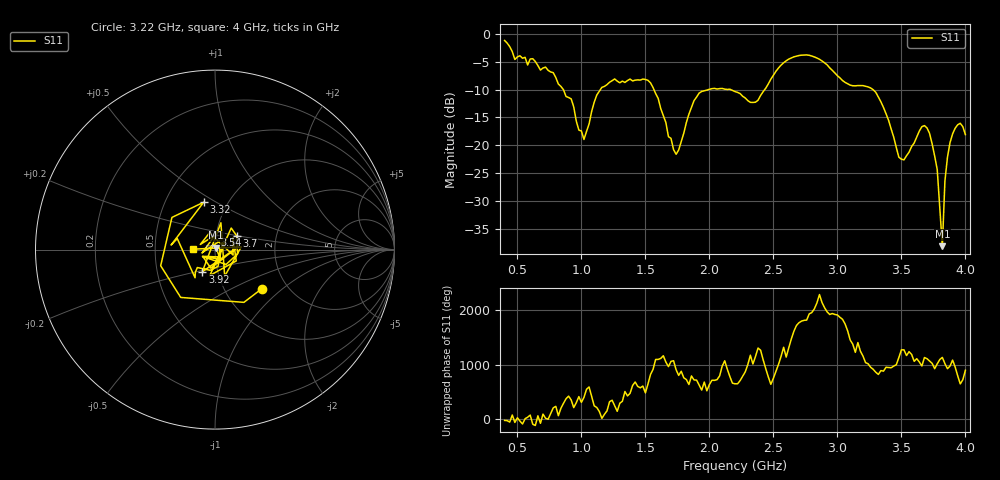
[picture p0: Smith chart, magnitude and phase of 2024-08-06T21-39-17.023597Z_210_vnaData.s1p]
!Created with skrf (http://scikit-rf.org).
# Hz S RI R 50.0
!freq ReS11 ImS11
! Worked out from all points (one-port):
!   181 points, 400 MHz to 4 GHz, reference 50 ohm
!   lowest |S11| = -38.2 dB at 3.82 GHz (marker M1), VSWR 1.03, Z = 50.7 + j1.03 ohm
!   |S11| at or under -10 dB: 859.9 MHz to 1.147 GHz (287.6 MHz wide, 28.7 % of centre); 1.567 GHz to 1.99 GHz (423 MHz wide, 23.8 % of centre); 3.279 GHz to end of sweep (the widest 3 of 4)
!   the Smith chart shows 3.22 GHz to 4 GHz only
!   S11 on the Smith chart (normalised r, x): 3.22 GHz: 1.48, -0.73; 3.32 GHz: 0.77, +0.44; 3.54 GHz: 0.99, +0.16; 3.7 GHz: 1.26, +0.20; 3.92 GHz: 0.84, -0.21; 4 GHz: 0.78, +0.00
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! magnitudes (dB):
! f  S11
! 400 MHz  -1.1
! 480 MHz  -4.6
! 620 MHz  -4.4
! 860 MHz  -10.0
! 1.02 GHz  -19.0
! 1.12 GHz  -11.0
! 1.3 GHz  -8.7
! 1.54 GHz  -8.8
! 1.72 GHz  -20.8
! 1.76 GHz  -20.8
! 1.92 GHz  -10.6
! 2.2 GHz  -10.3
! 2.36 GHz  -12.3
! 2.66 GHz  -4.1
! 2.86 GHz  -4.5
! 3.1 GHz  -9.2
! 3.22 GHz  -9.4
! 3.32 GHz  -11.3
! 3.48 GHz  -22.1
! 3.54 GHz  -21.9
! 3.56 GHz  -21.2
! 3.7 GHz  -16.9
! 3.78 GHz  -24.4
! 3.82 GHz  -38.2
! 3.84 GHz  -26.4
! 3.86 GHz  -22.1
! 3.92 GHz  -16.9
! 4 GHz  -18.1
